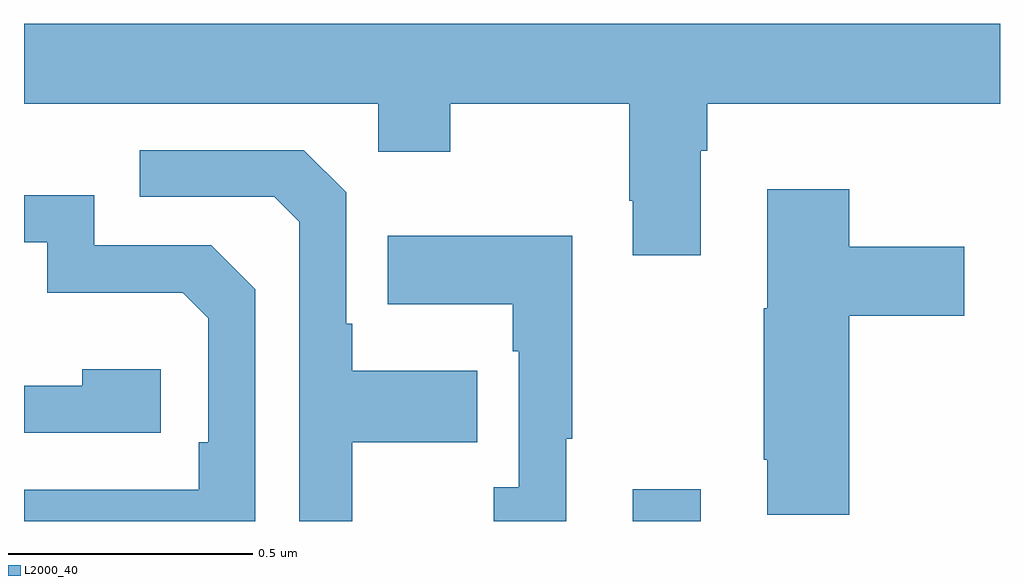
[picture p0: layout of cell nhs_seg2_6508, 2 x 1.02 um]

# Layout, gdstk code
import gdstk
lib = gdstk.Library(unit=1e-6, precision=1e-09)
def R(c, l, rs):  # rectangles x0, y0, x1, y1
    for r in rs: c.add(gdstk.rectangle(r[:2], r[2:], *l))
def P(c, l, *ps):  # polygons
    for p in ps: c.add(gdstk.Polygon(p, *l))
L2000_40 = (2000, 40)

nhs_seg2_6508 = lib.new_cell('nhs_seg2_6508')
R(nhs_seg2_6508, L2000_40, [(193.247,626.8,193.387,626.866)])
P(nhs_seg2_6508, L2000_40, [(193.387,627.56),(193.4,627.56),(193.4,627.656),(194,627.656),(194,627.82),(192,627.82),(192,627.656),(192.726,627.656),(192.726,627.557),(192.873,627.557),(192.873,627.656),(193.24,627.656),(193.24,627.457),(193.247,627.457),(193.247,627.345),(193.387,627.345)],
  [(192.673,626.962),(192.929,626.962),(192.929,627.109),(192.673,627.109),(192.673,627.205),(192.66,627.205),(192.66,627.474),(192.573,627.561),(192.237,627.561),(192.237,627.465),(192.513,627.465),(192.564,627.414),(192.564,626.8),(192.673,626.8)],
  [(193.691,627.221),(193.927,627.221),(193.927,627.363),(193.691,627.363),(193.691,627.481),(193.523,627.481),(193.523,627.237),(193.516,627.237),(193.516,626.926),(193.523,626.926),(193.523,626.814),(193.691,626.814)],
  [(192.474,627.276),(192.384,627.366),(192.144,627.366),(192.144,627.468),(192,627.468),(192,627.372),(192.048,627.372),(192.048,627.269),(192.325,627.269),(192.378,627.216),(192.378,626.962),(192.358,626.962),(192.358,626.865),(192,626.865),(192,626.8),(192.474,626.8)],
  [(193.111,626.969),(193.123,626.969),(193.123,627.385),(192.745,627.385),(192.745,627.245),(193.002,627.245),(193.002,627.149),(193.014,627.149),(193.014,626.87),(192.963,626.87),(192.963,626.8),(193.111,626.8)],
  [(192.28,627.112),(192.119,627.112),(192.119,627.078),(192,627.078),(192,626.982),(192.28,626.982)])

lib.write_gds('nhs_seg2_6508.gds')
